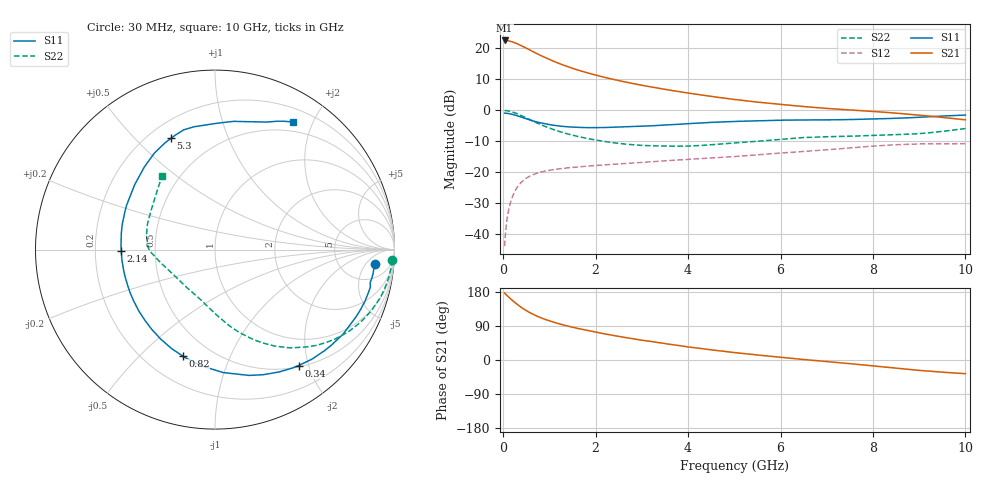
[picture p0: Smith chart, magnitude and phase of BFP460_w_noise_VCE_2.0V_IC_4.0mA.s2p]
! (c) 2016  Infineon Technologies AG, Munich
! Infineon Technologies  Discrete & RF Semiconductors
! BFP460
! VCE =  2.0 V,  IC =  4.0 mA
! Common Emitter S-Parameters:  Jan 2016
# GHz  S  MA  R  50
!  f  S11  S21  S12  S22
! GHz  MAG  ANG  MAG  ANG  MAG  ANG  MAG  ANG
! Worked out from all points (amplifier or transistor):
!   229 points, 30 MHz to 10 GHz, reference 50 ohm
!   highest |S21| = 22.6 dB at 30 MHz (marker M1)
!   |S21| within 3 dB of that: start of sweep to 564.2 MHz
!   unconditionally stable (mu >= 1): 3.267 GHz to 8.252 GHz
!   at 280 MHz: K = 0.14, MSG = 23.6 dB, |S12| = -25.5 dB
!   at 1.78 GHz: K = 0.70, MSG = 15.2 dB, |S12| = -18.2 dB
!   at 10 GHz: K = 0.96, MSG = 3.9 dB, |S12| = -10.8 dB
!   lowest NFmin = 0.73 dB at 100 MHz
!   S11 on the Smith chart (normalised r, x): 30 MHz: 11, -9; 340 MHz: 0.52, -1.84; 820 MHz: 0.35, -0.68; 2.14 GHz: 0.31, -0.01; 5.3 GHz: 0.29, +0.64; 10 GHz: 0.37, +1.72
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0.03  0.8949 -5.1  13.42 176.8  0.0063 87.4  0.9886 -3.4
0.05  0.8908 -8.4  13.35 173.5  0.0103 84.6  0.9861 -5.6
0.12  0.8808 -20.5  13.19 165.9  0.0249 78.7  0.9689 -13.3
0.2  0.8551 -33.4  12.71 157.0  0.0399 71.7  0.9342 -21.6
0.26  0.8307 -42.6  12.24 150.9  0.0499 66.7  0.9008 -27.3
0.34  0.7966 -54.2  11.53 143.3  0.0617 60.9  0.8505 -34.5
0.4  0.7697 -62.3  10.98 138.0  0.0692 57.0  0.8115 -39.4
0.5  0.7264 -74.8  10.06 130.2  0.0796 51.5  0.7479 -46.4
0.7  0.6526 -96.3  8.43 117.2  0.094 43.1  0.6356 -57.9
0.82  0.6191 -107.0  7.611 111.1  0.0998 39.5  0.5803 -63.3
1  0.5828 -121.4  6.608 103.1  0.1066 35.5  0.5123 -70.2
1.2  0.5546 -134.8  5.729 95.7  0.1121 32.4  0.455 -76.5
1.44  0.5348 -148.5  4.925 88.1  0.1173 29.8  0.4039 -82.7
1.7  0.5241 -161.3  4.267 80.9  0.1221 28.0  0.363 -88.8
2.14  0.5224 -179.3  3.475 70.3  0.1296 26.0  0.3162 -98.2
2.76  0.5404 160.1  2.739 56.9  0.1396 24.3  0.2774 -112.2
3.4  0.5685 143.5  2.234 45.1  0.1499 23.0  0.263 -127.0
5.1  0.6598 113.9  1.461 18.4  0.1798 20.4  0.2983 -162.2
5.3  0.6665 111.6  1.404 15.9  0.1847 20.0  0.3058 -164.8
6.8  0.6947 96.7  1.097 -1.9  0.2226 15.4  0.3669 179.9
8.4  0.7346 75.9  0.907 -20.5  0.2735 5.5  0.3996 161.2
10  0.8327 58.7  0.698 -36.1  0.2868 -5.9  0.5039 126.0
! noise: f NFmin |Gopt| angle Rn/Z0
0.1  0.73  0.43  1  0.18
0.45  0.75  0.4  17  0.18
0.9  0.77  0.41  35  0.18
1.9  1.06  0.21  94  0.13
3.5  1.3  0.35  -157  0.09
